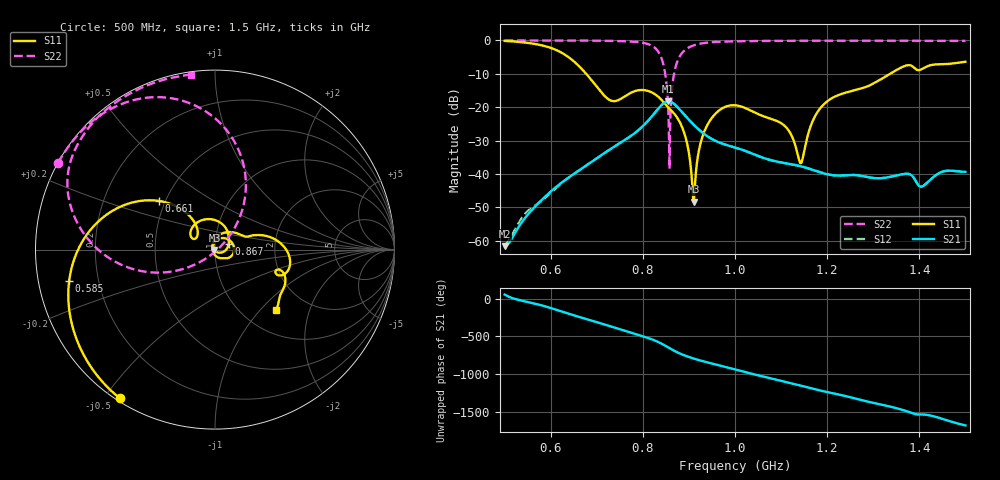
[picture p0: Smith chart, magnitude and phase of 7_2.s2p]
! TOUCHSTONE file generated by CST MICROWAVE STUDIO
! Date and time: Fri Oct  2 16:32:17 2020
! Project name: Scenario_1_Free_Space_out_of_line.cst
! Parameters = {Lambda=346.42; Step_1=17.321; dy1=243.594; dx1=346; L_HA=400; MT=2.54; Rad_Dielectric=30; Rad_Lower=7.3; Rad_Upper=30; a_HA=580; a_WG=246; b_HA=500; b_WG=121; c_HA=0; c_WG=187; d_feed=85; h_feed=15; h_lower=18; h_upper=40}
! Header version: 2018
! Port assignment regex: !\s*Touchstone port\s*([0-9]+)\s*=\s*(CST MWS port|CST DS port)\s*([0-9]+|Zmin|Zmax)\s*\(\"(.*)\"\)(\s*mode\s*([0-9]+))?.*
! Touchstone port assignment:
! Touchstone port 1 = CST MWS port 1 ("")
! Touchstone port 2 = CST MWS port 2 ("")
# GHz S DB R 50
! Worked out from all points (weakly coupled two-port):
!   1003 points, 500 MHz to 1.5 GHz, reference 50 ohm
!   highest |S21| = -18.23 dB at 855 MHz (marker M1); lowest = -61.7 dB at 501 MHz (marker M2)
!   lowest |S11| = -48.3 dB at 910 MHz (marker M3), VSWR 1.01, Z = 49.7 - j0.238 ohm
!   |S11| at or under -10 dB: 677 MHz to 1.336 GHz (659.5 MHz wide, 65.5 % of centre)
!   |S22| runs from -38.5 to 0.0 dB; largest |S21 - S12| = 0.0011
!   S11 on the Smith chart (normalised r, x): 500 MHz: 0.01, -0.55; 585 MHz: 0.09, -0.10; 661 MHz: 0.46, +0.30; 867 MHz: 1.16, +0.07; 1.5 GHz: 1.40, -1.23
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0.5  -0.15 -122.7  -61.67 56.7  -61.57 57.4  -0.01 151.1
0.501  -0.16 -123.1  -61.67 53.4  -61.40 56.7  -0.01 151.0
0.585  -1.61 -168.0  -47.21 -95.0  -47.51 -97.2  -0.02 145.2
0.661  -7.65 139.1  -39.02 120.5  -38.99 120.5  -0.04 138.9
0.667  -8.49 135.8  -38.47 109.6  -38.44 109.6  -0.04 138.3
0.731  -18.05 141.6  -32.45 -7.9  -32.45 -7.8  -0.13 130.6
0.794  -14.87 127.0  -26.46 -125.5  -26.46 -125.5  -0.59 115.5
0.834  -16.94 69.5  -20.37 144.3  -20.37 144.3  -3.48 84.6
0.847  -18.84 49.9  -18.62 102.9  -18.62 102.9  -8.77 62.1
0.855  -20.07 39.2  -18.23 74.3  -18.23 74.3  -20.22 41.8
0.861  -20.91 30.9  -18.40 52.8  -18.40 52.8  -19.14 -140.7
0.867  -21.78 21.4  -18.92 32.3  -18.93 32.3  -10.61 -154.8
0.893  -29.22 -29.7  -22.72 -38.4  -22.72 -38.4  -2.70 173.4
0.91  -48.31 -141.5  -25.21 -73.8  -25.21 -73.8  -1.49 163.0
0.939  -25.61 82.4  -28.63 -123.3  -28.63 -123.2  -0.67 152.1
1  -19.44 -2.1  -32.07 142.6  -32.09 142.6  -0.27 140.2
1.106  -25.40 -60.8  -36.71 -18.9  -36.74 -19.3  -0.12 129.1
1.142  -36.77 -161.4  -37.70 -74.9  -37.67 -74.8  -0.10 126.1
1.167  -24.69 90.5  -38.74 -113.5  -38.67 -113.6  -0.10 124.2
1.207  -17.59 47.8  -40.30 -168.8  -40.28 -168.9  -0.09 121.0
1.334  -10.21 13.5  -40.97 11.1  -40.97 11.1  -0.09 111.4
1.5  -6.39 -44.9  -39.39 116.5  -39.39 116.5  -0.14 97.9
